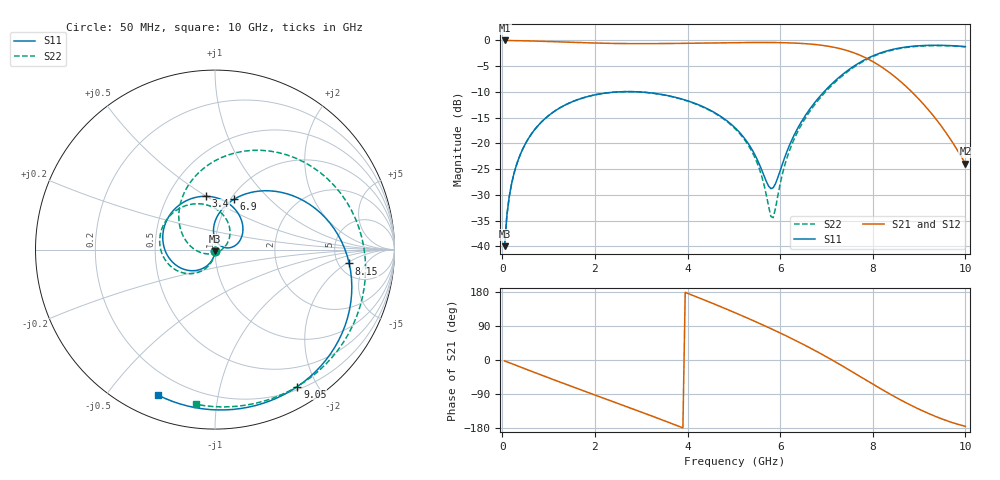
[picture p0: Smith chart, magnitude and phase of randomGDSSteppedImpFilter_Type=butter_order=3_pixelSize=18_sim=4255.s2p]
! freq	dB(S11)	phase(S11)	dB(S12)	phase(S12)
!  dB(S21)	phase(S21)	dB(S22)	phase(S22)
!S-par simulation data
#  GHz  S  DB  R 50
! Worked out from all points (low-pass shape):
!   200 points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, 50 MHz to 10 GHz, reference 50 ohm
!   highest |S21| = 0.00 dB at 50 MHz (marker M1); lowest = -23.9 dB at 10 GHz (marker M2)
!   |S21| within 3 dB of the highest: start of sweep to 7.757 GHz
!   lowest |S11| = -40.0 dB at 50 MHz (marker M3), VSWR 1.02, Z = 49.9 - j1 ohm
!   |S11| at or under -10 dB: start of sweep to 2.489 GHz; 2.964 GHz to 6.944 GHz (3.981 GHz wide, 80.3 % of centre)
!   |S22| runs from -39.9 to -1.0 dB; largest |S21 - S12| = 0
!   S11 on the Smith chart (normalised r, x): 50 MHz: 1.00, -0.02; 3.4 GHz: 0.77, +0.50; 6.9 GHz: 1.04, +0.64; 8.15 GHz: 6.25, -2.21; 9.05 GHz: 0.24, -1.74; 10 GHz: 0.10, -0.68
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0.05  -39.97 -92.9  -0.00 -2.4  -0.00 -2.4  -39.95 -92.4
0.1  -33.90 -95.6  -0.01 -4.8  -0.01 -4.8  -33.89 -94.8
0.2  -27.86 -100.6  -0.02 -9.5  -0.02 -9.5  -27.86 -99.2
0.5  -20.06 -116.0  -0.07 -23.7  -0.07 -23.7  -20.05 -112.4
1.15  -13.62 -148.8  -0.25 -53.9  -0.25 -53.9  -13.61 -140.4
1.75  -11.14 -178.6  -0.44 -81.1  -0.44 -81.1  -11.14 -165.3
2.55  -9.97 142.0  -0.60 -117.0  -0.60 -117.0  -9.98 162.4
3.4  -10.43 99.3  -0.61 -155.6  -0.61 -155.6  -10.45 128.0
4.25  -12.55 55.6  -0.52 163.9  -0.52 163.9  -12.62 91.7
5.05  -17.18 17.3  -0.42 123.5  -0.42 123.5  -17.35 52.2
5.5  -23.04 7.7  -0.39 99.5  -0.39 99.5  -23.72 21.0
5.85  -28.62 58.9  -0.41 80.0  -0.41 80.0  -34.43 -83.7
6.2  -20.40 94.8  -0.48 59.5  -0.48 59.5  -21.44 -169.9
6.7  -12.61 79.1  -0.74 28.4  -0.74 28.4  -13.02 149.3
6.9  -10.44 69.2  -0.94 15.2  -0.94 15.2  -10.77 133.9
7.65  -4.67 25.6  -2.60 -37.9  -2.60 -37.9  -4.85 73.5
8.15  -2.48 -5.9  -4.92 -74.4  -4.92 -74.4  -2.61 32.1
8.35  -1.92 -18.3  -6.17 -88.5  -6.17 -88.5  -2.03 16.1
8.7  -1.30 -39.2  -8.78 -111.7  -8.78 -111.7  -1.39 -10.7
9.05  -1.01 -59.0  -11.94 -132.7  -11.94 -132.7  -1.09 -35.6
9.55  -0.96 -86.2  -17.52 -158.1  -17.52 -158.1  -1.03 -68.6
10  -1.20 -111.4  -23.94 -175.1  -23.94 -175.1  -1.23 -97.1
